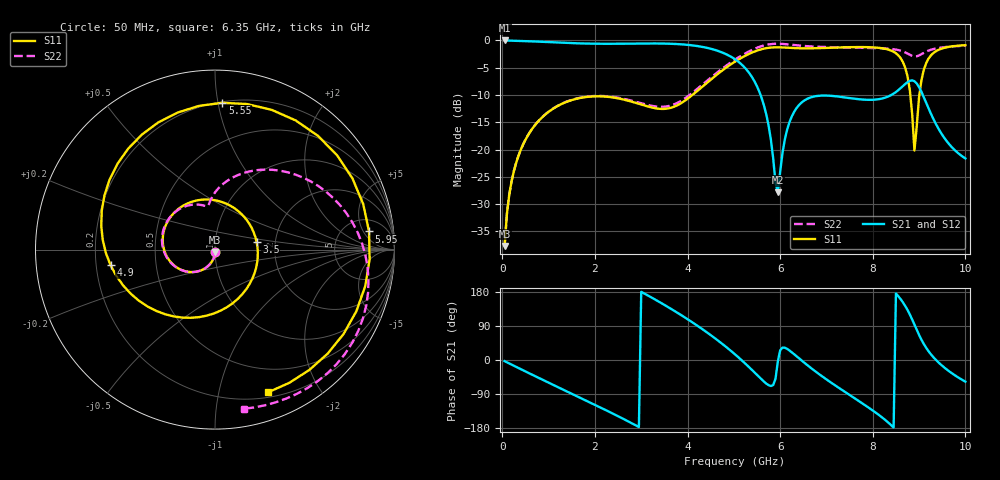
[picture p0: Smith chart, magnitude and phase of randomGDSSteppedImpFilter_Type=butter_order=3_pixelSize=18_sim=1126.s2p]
! freq	dB(S11)	phase(S11)	dB(S12)	phase(S12)
!  dB(S21)	phase(S21)	dB(S22)	phase(S22)
!S-par simulation data
#  GHz  S  DB  R 50
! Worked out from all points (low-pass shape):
!   200 points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, 50 MHz to 10 GHz, reference 50 ohm
!   highest |S21| = -0.02 dB at 50 MHz (marker M1); lowest = -27.8 dB at 5.95 GHz (marker M2)
!   |S21| within 3 dB of the highest: start of sweep to 4.942 GHz
!   lowest |S11| = -37.7 dB at 50 MHz (marker M3), VSWR 1.03, Z = 50.1 - j1.31 ohm
!   |S11| at or under -10 dB: start of sweep to 4.105 GHz; 8.81 GHz to 9.006 GHz (195.5 MHz wide, 2.19 % of centre)
!   |S22| runs from -37.7 to -0.6 dB; largest |S21 - S12| = 0
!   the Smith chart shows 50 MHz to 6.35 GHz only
!   S11 on the Smith chart (normalised r, x): 50 MHz: 1.00, -0.03; 3.5 GHz: 1.60, +0.14; 4.9 GHz: 0.26, -0.07; 5.55 GHz: 0.21, +1.03; 5.95 GHz: 8, +7; 6.35 GHz: 0.25, -1.41
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0.05  -37.67 -86.4  -0.02 -3.1  -0.02 -3.1  -37.69 -86.3
0.2  -25.84 -99.4  -0.05 -12.2  -0.05 -12.2  -25.82 -99.4
0.5  -18.21 -119.3  -0.13 -30.2  -0.13 -30.2  -18.19 -119.4
1.75  -10.45 164.5  -0.57 -103.6  -0.57 -103.6  -10.40 167.7
2.7  -11.01 97.5  -0.61 -160.8  -0.61 -160.8  -10.85 120.5
3.4  -12.54 23.7  -0.58 152.6  -0.58 152.6  -12.17 100.6
3.5  -12.55 10.4  -0.59 145.5  -0.59 145.5  -12.15 99.4
4.2  -9.33 -84.7  -1.03 91.5  -1.03 91.5  -8.96 84.7
4.9  -4.60 -171.6  -2.82 27.8  -2.82 27.8  -4.25 43.0
5.05  -3.77 168.1  -3.61 12.3  -3.61 12.3  -3.39 31.5
5.55  -1.74 87.1  -9.40 -45.4  -9.40 -45.4  -1.19 -11.2
5.95  -1.27 6.7  -27.85 -4.1  -27.85 -4.1  -0.62 -47.6
6.35  -1.43 -69.4  -12.45 10.3  -12.45 10.3  -0.90 -79.8
6.7  -1.45 -121.6  -10.35 -24.4  -10.35 -24.4  -1.13 -104.9
7.4  -1.27 163.2  -10.46 -84.3  -10.46 -84.3  -1.30 -156.1
7.9  -1.25 119.5  -10.89 -124.8  -10.89 -124.8  -1.37 163.5
8.35  -1.73 77.5  -10.22 -166.6  -10.22 -166.6  -1.53 123.9
8.7  -5.00 25.0  -8.00 142.7  -8.00 142.7  -2.20 92.2
8.9  -20.18 -86.8  -7.49 93.4  -7.49 93.4  -2.95 80.4
9.05  -7.33 139.4  -9.41 53.8  -9.41 53.8  -2.53 73.9
9.3  -2.38 91.6  -14.24 8.6  -14.24 8.6  -1.61 55.1
10  -0.88 34.6  -21.62 -57.1  -21.62 -57.1  -0.98 5.3
